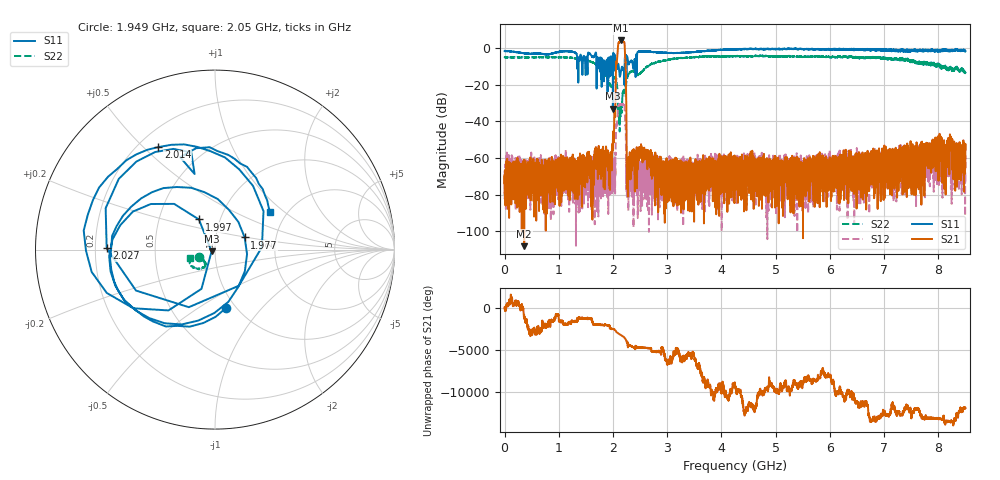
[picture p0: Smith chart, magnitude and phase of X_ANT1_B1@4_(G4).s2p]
#  HZ  S  RI  R  50.00
! Rohde & Schwarz Vector Network Analyzer
! Rohde-Schwarz,ZNBT8-20Port,1318700624101681,3.50
! Created: UTC 7/15/2025, 2:09:18 PM
! freq[Hz]  re:S1010  im:S1010  re:S0410  im:S0410  re:S1004  im:S1004  re:S44  im:S44
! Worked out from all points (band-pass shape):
!   8500 points, 1 MHz to 8.5 GHz, reference 50 ohm
!   highest |S21| = 4.10 dB at 2.144 GHz (marker M1); lowest = -108.2 dB at 362 MHz (marker M2)
!   |S21| within 3 dB of the highest: 2.093 GHz to 2.216 GHz (122.4 MHz wide, 5.68 % of centre)
!   lowest |S11| = -33.2 dB at 1.998 GHz (marker M3), VSWR 1.04, Z = 48.1 - j0.991 ohm
!   |S11| at or under -10 dB: 2.053 GHz to 2.083 GHz (30.5 MHz wide, 1.47 % of centre); 2.105 GHz to 2.214 GHz (108.8 MHz wide, 5.04 % of centre); 2.369 GHz to 2.383 GHz (14.73 MHz wide, 0.62 % of centre)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
!   |S22| runs from -45.6 to -4.0 dB; largest |S21 - S12| = 1.6
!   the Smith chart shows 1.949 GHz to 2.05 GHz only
!   S11 on the Smith chart (normalised r, x): 1.949 GHz: 0.90, -0.66; 1.977 GHz: 1.38, +0.19; 1.997 GHz: 0.79, +0.28; 2.014 GHz: 0.28, +0.55; 2.027 GHz: 0.25, +0.01; 2.05 GHz: 1.65, +0.80
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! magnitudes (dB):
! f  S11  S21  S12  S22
! 1 MHz  -1.6  -70.0  -73.0  -5.0
! 362 MHz  -2.9  -108.2  -65.4  -5.2
! 1.418 GHz  -5.1  -70.3  -65.6  -6.1
! 1.949 GHz  -9.6  -64.3  -64.1  -20.4
! 1.977 GHz  -15.0  -58.4  -79.4  -21.2
! 1.997 GHz  -14.4  -54.5  -65.3  -19.8
! 1.998 GHz  -33.2  -51.9  -72.1  -19.7
! 2.014 GHz  -3.7  -50.1  -61.5  -18.3
! 2.027 GHz  -4.4  -32.8  -61.1  -16.8
! 2.05 GHz  -8.6  -19.8  -54.4  -16.7
! 2.093 GHz  -8.6  1.0  -33.1  -29.8
! 2.144 GHz  -13.3  4.1  -30.2  -32.6
! 2.205 GHz  -14.0  3.1  -31.0  -22.4
! 2.262 GHz  -4.7  -71.7  -70.0  -16.4
! 2.293 GHz  -8.5  -59.7  -70.9  -13.7
! 2.519 GHz  -1.9  -54.5  -67.2  -13.3
! 2.834 GHz  -2.4  -62.6  -71.2  -7.6
! 4.251 GHz  -0.6  -60.0  -63.7  -4.4
! 5.667 GHz  -0.4  -66.8  -67.8  -4.5
! 7.084 GHz  -1.1  -64.3  -68.8  -5.6
! 8.216 GHz  -1.7  -54.3  -62.7  -11.0
! 8.5 GHz  -1.9  -55.5  -65.4  -13.3
